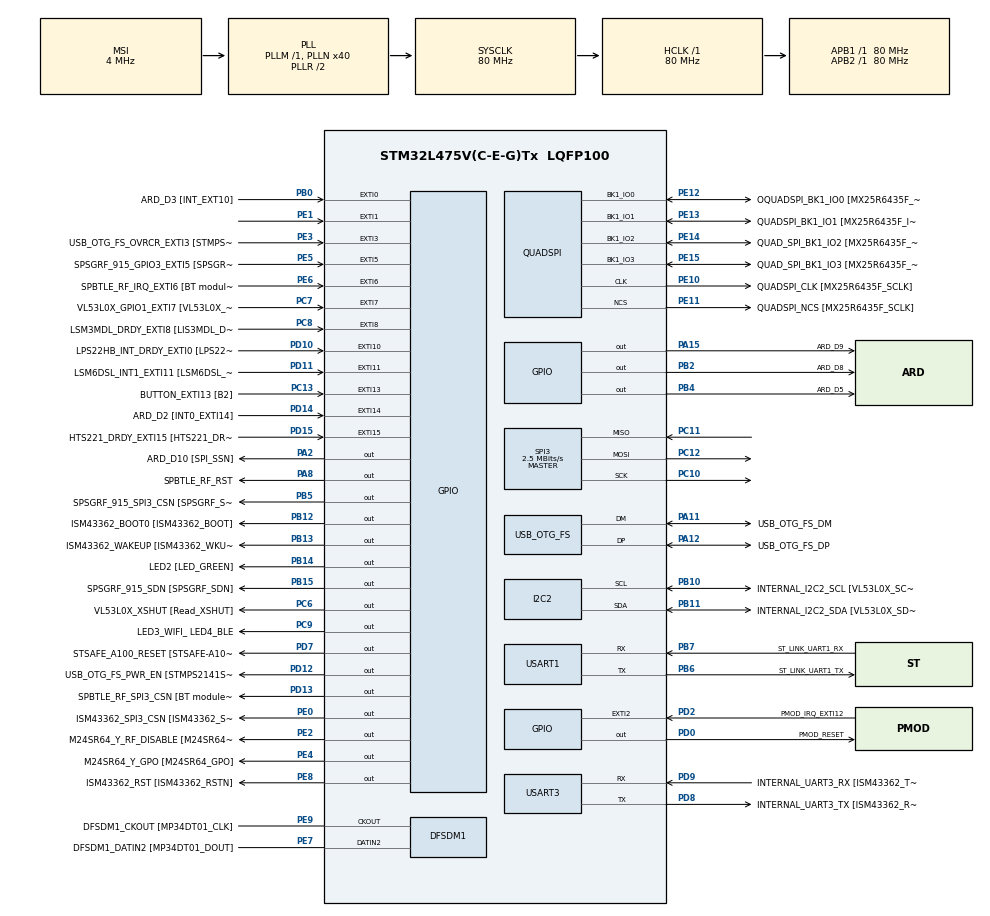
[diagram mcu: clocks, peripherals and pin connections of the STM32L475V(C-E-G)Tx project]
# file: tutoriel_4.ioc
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I2C2.Timing=0x10D19CE4
Mcu.Family=STM32L4
Mcu.Name=STM32L475V(C-E-G)Tx
Mcu.Package=LQFP100
NVIC.EXTI1_IRQn=true\:0\:0\:false\:false\:true\:true\:true\:true
NVIC.PriorityGroup=NVIC_PRIORITYGROUP_4
NVIC.SPI3_IRQn=true\:0\:0\:false\:false\:true\:true\:true\:true
PA0.Signal=UART4_TX
PA1.GPIO_Label=ARD_D0 [UART4_RX]
PA1.Signal=UART4_RX
PA10.GPIO_Label=USB_OTG_FS_ID
PA10.Signal=USB_OTG_FS_ID
PA11.GPIO_Label=USB_OTG_FS_DM
PA11.Mode=Device_Only
PA11.Signal=USB_OTG_FS_DM
PA12.GPIO_Label=USB_OTG_FS_DP
PA12.Mode=Device_Only
PA12.Signal=USB_OTG_FS_DP
PA13\ (JTMS-SWDIO).GPIO_Label=SYS_JTMS_SWDIO
PA13\ (JTMS-SWDIO).Mode=Serial_Wire
PA13\ (JTMS-SWDIO).Signal=SYS_JTMS-SWDIO
PA14\ (JTCK-SWCLK).GPIO_Label=SYS_JTCK_SWCLK
PA14\ (JTCK-SWCLK).Mode=Serial_Wire
PA14\ (JTCK-SWCLK).Signal=SYS_JTCK-SWCLK
PA15\ (JTDI).GPIO_Label=ARD_D9
PA15\ (JTDI).Signal=GPIO_Output
PA2.GPIO_Label=ARD_D10 [SPI_SSN]
PA2.Signal=GPIO_Output
PA3.GPIO_Label=ARD_D4
PA3.Signal=S_TIM2_CH4
PA4.GPIO_Label=ARD_D7
PA4.Signal=ADCx_IN9
PA5.GPIO_Label=ARD_D13 [SPI1_SCK]
PA5.Signal=SPI1_SCK
PA6.GPIO_Label=ARD_D12 [SPI1_MISO]
PA6.Signal=SPI1_MISO
PA7.GPIO_Label=ARD_D11 [SPI1_MOSI]
PA7.Signal=SPI1_MOSI
PA8.GPIO_Label=SPBTLE_RF_RST
PA8.Signal=GPIO_Output
PA9.GPIO_Label=USB_OTG_FS_VBUS [STMPS2141STR_OUT]
PA9.Signal=USB_OTG_FS_VBUS
PB0.GPIO_Label=ARD_D3 [INT_EXT10]
PB0.Signal=GPXTI0
PB1.GPIO_Label=ARD_D6 [ADC1_IN6]
PB1.Signal=ADCx_IN16
PB10.GPIO_Label=INTERNAL_I2C2_SCL [VL53L0X_SCL]
PB10.GPIO_Pu=GPIO_PULLUP
PB10.Mode=I2C
PB10.Signal=I2C2_SCL
PB11.GPIO_Label=INTERNAL_I2C2_SDA [VL53L0X_SDA]
PB11.GPIO_Pu=GPIO_PULLUP
PB11.Mode=I2C
PB11.Signal=I2C2_SDA
PB12.GPIO_Label=ISM43362_BOOT0 [ISM43362_BOOT]
PB12.Signal=GPIO_Output
PB13.GPIO_Label=ISM43362_WAKEUP [ISM43362_WKUP]
PB13.Signal=GPIO_Output
PB14.GPIO_Label=LED2 [LED_GREEN]
PB14.Signal=GPIO_Output
PB15.GPIO_Label=SPSGRF_915_SDN [SPSGRF_SDN]
PB15.Signal=GPIO_Output
PB2.GPIO_Label=ARD_D8
PB2.Signal=GPIO_Output
PB3\ (JTDO-TRACESWO).GPIO_Label=SYS_JTD0_SWO
PB3\ (JTDO-TRACESWO).Signal=SYS_JTDO-SWO
PB4\ (NJTRST).GPIO_Label=ARD_D5
PB4\ (NJTRST).Signal=GPIO_Output
PB5.GPIO_Label=SPSGRF_915_SPI3_CSN [SPSGRF_SPI_CS]
PB5.PinState=GPIO_PIN_SET
PB5.Signal=GPIO_Output
PB6.GPIO_Label=ST_LINK_UART1_TX
PB6.Mode=Asynchronous
PB6.Signal=USART1_TX
PB7.GPIO_Label=ST_LINK_UART1_RX
PB7.Mode=Asynchronous
PB7.Signal=USART1_RX
PB8.GPIO_Label=ARD_D15 [I2C1_SCL]
PB8.Signal=I2C1_SCL
PB9.GPIO_Label=ARD_D14 [I2C1_SDA]
PB9.Signal=I2C1_SDA
PC0.GPIO_Label=ARD_A5 [ADC]
PC0.Signal=ADCx_IN1
PC1.GPIO_Label=ARD_A4 [ADC]
PC1.Signal=ADCx_IN2
PC10.Mode=Full_Duplex_Master
PC10.Signal=SPI3_SCK
PC11.GPIO_Mode=GPIO_MODE_AF_PP
PC11.GPIO_PuPd=GPIO_NOPULL
PC11.GPIO_Speed=GPIO_SPEED_FREQ_VERY_HIGH
PC11.Mode=Full_Duplex_Master
PC11.Signal=SPI3_MISO
PC12.GPIO_Mode=GPIO_MODE_AF_PP
PC12.GPIO_PuPd=GPIO_NOPULL
PC12.GPIO_Speed=GPIO_SPEED_FREQ_VERY_HIGH
PC12.Mode=Full_Duplex_Master
PC12.Signal=SPI3_MOSI
PC13.GPIO_Label=BUTTON_EXTI13 [B2]
PC13.GPIO_ModeDefaultEXTI=GPIO_MODE_IT_FALLING
PC13.Signal=GPXTI13
PC14-OSC32_IN\ (PC14).Mode=LSE-External-Oscillator
PC14-OSC32_IN\ (PC14).Signal=RCC_OSC32_IN
PC15-OSC32_OUT\ (PC15).Mode=LSE-External-Oscillator
PC15-OSC32_OUT\ (PC15).Signal=RCC_OSC32_OUT
PC2.GPIO_Label=ARD_A3 [ADC]
PC2.Signal=ADCx_IN3
PC3.GPIO_Label=ARD_A2 [ADC]
PC3.Signal=ADCx_IN4
PC4.GPIO_Label=ARD_A1 [ADC]
PC4.Signal=ADCx_IN13
PC5.GPIO_Label=ARD_A0 [ADC]
PC5.Signal=ADCx_IN14
PC6.GPIO_Label=VL53L0X_XSHUT [Read_XSHUT]
PC6.Signal=GPIO_Output
PC7.GPIO_Label=VL53L0X_GPIO1_EXTI7 [VL53L0X_GPIO1]
PC7.Signal=GPXTI7
PC8.GPIO_Label=LSM3MDL_DRDY_EXTI8 [LIS3MDL_DRDY]
PC8.Signal=GPXTI8
PC9.GPIO_Label=LED3_WIFI_ LED4_BLE
PC9.Signal=GPIO_Output
PD0.GPIO_Label=PMOD_RESET
PD0.Signal=GPIO_Output
PD1.GPIO_Label=PMOD_SPI2_SCK
PD1.Signal=SPI2_SCK
PD10.GPIO_Label=LPS22HB_INT_DRDY_EXTI0 [LPS22HB_INT_DRDY] 
PD10.Signal=GPXTI10
PD11.GPIO_Label=LSM6DSL_INT1_EXTI11 [LSM6DSL_INT1]
PD11.Signal=GPXTI11
PD12.GPIO_Label=USB_OTG_FS_PWR_EN [STMPS2141STR_EN]
PD12.Signal=GPIO_Output
PD13.GPIO_Label=SPBTLE_RF_SPI3_CSN [BT module_SPI_CS]
PD13.PinState=GPIO_PIN_SET
PD13.Signal=GPIO_Output
PD14.GPIO_Label=ARD_D2 [INT0_EXTI14]
PD14.Signal=GPXTI14
PD15.GPIO_Label=HTS221_DRDY_EXTI15 [HTS221_DRDY]
PD15.Signal=GPXTI15
PD2.GPIO_Label=PMOD_IRQ_EXTI12
PD2.Signal=GPXTI2
PD4.GPIO_Label=PMOD_UART2_RTS
PD4.Signal=USART2_RTS
PD5.GPIO_Label=PMOD_UART2_TX
PD5.Signal=USART2_TX
PD6.GPIO_Label=PMOD_UART2_RX
PD6.Signal=USART2_RX
PD7.GPIO_Label=STSAFE_A100_RESET [STSAFE-A100_RESET]
PD7.Signal=GPIO_Output
PD8.GPIO_Label=INTERNAL_UART3_TX [ISM43362_RX]
PD8.Mode=Asynchronous
PD8.Signal=USART3_TX
PD9.GPIO_Label=INTERNAL_UART3_RX [ISM43362_TX]
PD9.Mode=Asynchronous
PD9.Signal=USART3_RX
PE0.GPIO_Label=ISM43362_SPI3_CSN [ISM43362_SSN]
PE0.PinState=GPIO_PIN_SET
PE0.Signal=GPIO_Output
PE1.Signal=GPXTI1
PE10.GPIO_Label=QUADSPI_CLK [MX25R6435F_SCLK]
PE10.Mode=Single Bank
PE10.Signal=QUADSPI_CLK
PE11.GPIO_Label=QUADSPI_NCS [MX25R6435F_SCLK]
PE11.Mode=Single Bank
PE11.Signal=QUADSPI_NCS
PE12.GPIO_Label=OQUADSPI_BK1_IO0 [MX25R6435F_IO0]
PE12.Mode=Single Bank
PE12.Signal=QUADSPI_BK1_IO0
PE13.GPIO_Label=QUADSPI_BK1_IO1 [MX25R6435F_IO1]
PE13.Mode=Single Bank
PE13.Signal=QUADSPI_BK1_IO1
PE14.GPIO_Label=QUAD_SPI_BK1_IO2 [MX25R6435F_IO2]
PE14.Mode=Single Bank
PE14.Signal=QUADSPI_BK1_IO2
PE15.GPIO_Label=QUAD_SPI_BK1_IO3 [MX25R6435F_IO3]
PE15.Mode=Single Bank
PE15.Signal=QUADSPI_BK1_IO3
PE2.GPIO_Label=M24SR64_Y_RF_DISABLE [M24SR64_RFDIS]
PE2.Signal=GPIO_Output
PE3.GPIO_Label=USB_OTG_FS_OVRCR_EXTI3 [STMPS2141STR_FAULT]
PE3.Signal=GPXTI3
PE4.GPIO_Label=M24SR64_Y_GPO [M24SR64_GPO]
PE4.Signal=GPIO_Output
PE5.GPIO_Label=SPSGRF_915_GPIO3_EXTI5 [SPSGRF_GPIO_3]
PE5.Signal=GPXTI5
PE6.GPIO_Label=SPBTLE_RF_IRQ_EXTI6 [BT module_SPI_IRQ]
PE6.Signal=GPXTI6
PE7.GPIO_Label=DFSDM1_DATIN2 [MP34DT01_DOUT]
PE7.Signal=S_DATAIN2DFSDM1
PE8.GPIO_Label=ISM43362_RST [ISM43362_RSTN]
PE8.Signal=GPIO_Output
PE9.GPIO_Label=DFSDM1_CKOUT [MP34DT01_CLK]
PE9.Signal=S_CKOUTDFSDM1
ProjectManager.HeapSize=0x200
ProjectManager.StackSize=0x400
ProjectManager.TargetToolchain=STM32CubeIDE
QUADSPI.ClockPrescaler=2
QUADSPI.FifoThreshold=4
QUADSPI.FlashSize=23
QUADSPI.SampleShifting=QSPI_SAMPLE_SHIFTING_HALFCYCLE
RCC.ADCFreq_Value=48000000
RCC.AHBFreq_Value=80000000
RCC.APB1Freq_Value=80000000
RCC.APB1TimFreq_Value=80000000
RCC.APB2Freq_Value=80000000
RCC.APB2TimFreq_Value=80000000
RCC.CortexFreq_Value=80000000
RCC.HCLKFreq_Value=80000000
RCC.HSE_VALUE=8000000
RCC.HSI_VALUE=16000000
RCC.MSI_VALUE=4000000
RCC.PLLN=40
RCC.PLLSAI1N=24
RCC.SYSCLKFreq_VALUE=80000000
RCC.SYSCLKSource=RCC_SYSCLKSOURCE_PLLCLK
RCC.USBFreq_Value=48000000
RCC.VCOOutputFreq_Value=160000000
SH.ADCx_IN1.0=ADC1_IN1
SH.ADCx_IN13.0=ADC1_IN13
SH.ADCx_IN14.0=ADC1_IN14
SH.ADCx_IN16.0=ADC1_IN16
SH.ADCx_IN2.0=ADC1_IN2
SH.ADCx_IN3.0=ADC1_IN3
SH.ADCx_IN4.0=ADC1_IN4
SH.ADCx_IN9.0=ADC1_IN9
SH.S_CKOUTDFSDM1.0=DFSDM1_CKOUT,CKOUT
SH.S_CKOUTDFSDM1.1=DFSDM1_CKOUT,PDM_SPI_Input_from_ch12_and_Internal_Clock
SH.S_DATAIN2DFSDM1.0=DFSDM1_DATIN2,PDM_SPI_Input_from_ch12_and_Internal_Clock
SH.S_TIM2_CH4.0=TIM2_CH4
SPI3.BaudRatePrescaler=SPI_BAUDRATEPRESCALER_32
SPI3.CalculateBaudRate=2.5 MBits/s
SPI3.DataSize=SPI_DATASIZE_8BIT
SPI3.Direction=SPI_DIRECTION_2LINES
SPI3.Mode=SPI_MODE_MASTER
SPI3.VirtualType=VM_MASTER
USART1.VirtualMode-Asynchronous=VM_ASYNC
USART3.VirtualMode-Asynchronous=VM_ASYNC
USB_OTG_FS.VirtualMode=Device_Only
board=B-L475E-IOT01A2

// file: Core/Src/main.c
/* USER CODE BEGIN Header */
/**
  ******************************************************************************
  * @file           : main.c
  * @brief          : Main program body
  ******************************************************************************
  * @attention
  *
  * Copyright (c) 2025 STMicroelectronics.
  * All rights reserved.
  *
  * This software is licensed under terms that can be found in the LICENSE file
  * in the root directory of this software component.
  * If no LICENSE file comes with this software, it is provided AS-IS.
  *
  ******************************************************************************
  */
/* USER CODE END Header */
#include "main.h"

/* USER CODE BEGIN Includes */
#include "stm32l475e_iot01.h"
#include "capteurs.h"
#include "traitement_donnees.h"

#include <wifi.h>
#include <math.h>
#include <stdio.h>
#include <string.h>
#include <stdarg.h>
#include <stdlib.h>
#include <time.h>

int32_t write_data_TS(int32_t* socket, uint16_t* datalen, int nb_parameters, ...);

/* USER CODE END Includes */

/* USER CODE BEGIN PD */

#define SSID "Javakjian"
#define PASSWORD "abcdefgh"

uint8_t RemoteIP[] = {10,34,124,150};
uint16_t RemotePORT = 8002;

uint8_t RemoteIP2[4] ;
uint16_t RemotePORT2 = 80;
#define thingspeak_APIkey_write "RH1GKC7P5NRDX6AJ"

#define thingspeak_APIkey_read "O729N63F5UVJ6IOZ"

#define WIFI_WRITE_TIMEOUT 10000
#define WIFI_READ_TIMEOUT 10000
#define CONNECTION_TRIAL_MAX 10

// --- Timing Constants ---
#define SENSOR_READ_INTERVAL_MS 10   // Read sensors every 1000ms
#define THINGSPEAK_SEND_INTERVAL_MS 30000 // Send every 60 seconds
#define THINGSPEAK_MIN_SEND_INTERVAL_MS 20000

/* USER CODE END PD */

DFSDM_Channel_HandleTypeDef hdfsdm1_channel1;

I2C_HandleTypeDef hi2c2;

QSPI_HandleTypeDef hqspi;

SPI_HandleTypeDef hspi3;

UART_HandleTypeDef huart1;
UART_HandleTypeDef huart3;

PCD_HandleTypeDef hpcd_USB_OTG_FS;

/* USER CODE BEGIN PV */
extern SPI_HandleTypeDef hspi;
int initial_accel_x = 0;
int initial_accel_y = 0;
int initial_accel_z = 0;
/* USER CODE END PV */

void SystemClock_Config(void);
static void MX_GPIO_Init(void);
static void MX_DFSDM1_Init(void);
static void MX_I2C2_Init(void);
static void MX_QUADSPI_Init(void);
static void MX_USART1_UART_Init(void);
static void MX_USART3_UART_Init(void);
static void MX_USB_OTG_FS_PCD_Init(void);
static void MX_SPI3_Init(void);

/* USER CODE BEGIN 0 */
/*Initialize WIFI module */
int wifi_connect(){
	int wifi_ok=0 ;
	uint8_t MAC_Addr[6] = {0};
	uint8_t IP_Addr[4] = {0};
	if(WIFI_Init() == WIFI_STATUS_OK) {

		printf("> WIFI Module Initialized.\n\r");
		if(WIFI_GetMAC_Address(MAC_Addr, sizeof(MAC_Addr)) == WIFI_STATUS_OK) {
			printf("> es-wifi module MAC Address : %X:%X:%X:%X:%X:%X\n\r",MAC_Addr[0],MAC_Addr[1],MAC_Addr[2],MAC_Addr[3],MAC_Addr[4],MAC_Addr[5]);
		} else {
			printf("> ERROR : CANNOT get MAC address\n\r");
		}
		if( WIFI_Connect(SSID, PASSWORD, WIFI_ECN_WPA2_PSK) == WIFI_STATUS_OK) {
			printf("> es-wifi module connected \n\r");
			if(WIFI_GetIP_Address(IP_Addr, sizeof(IP_Addr)) == WIFI_STATUS_OK){
				printf("> es-wifi module got IP Address : %d.%d.%d.%d\n\r",IP_Addr[0],IP_Addr[1],IP_Addr[2],IP_Addr[3]);
				wifi_ok=-1 ;
			}
			else{
				printf("> ERROR : es-wifi module CANNOT get IP address\n\r");
			}
		}
		else{
			printf("> ERROR : es-wifi module NOT connected\n\r");
		}
	}
	else{
		printf("31 . . . \n") ;

		printf( "> ERROR : WIFI Module cannot be initialized.\n\r");
	}
	return(wifi_ok);
}

int Server_Connect(int Socket, uint8_t RemoteIP[], uint16_t RemotePORT){
	int16_t Trials = CONNECTION_TRIAL_MAX;
	printf( "> Trying to connect to Server: %d.%d.%d.%d:%d ...\n\r",
	RemoteIP[0], RemoteIP[1], RemoteIP[2], RemoteIP[3],
	RemotePORT);
	while (Trials--){
		if( WIFI_OpenClientConnection(Socket, WIFI_TCP_PROTOCOL, "TCP_CLIENT", RemoteIP, RemotePORT, 0) == WIFI_STATUS_OK){
			printf("> TCP Connection opened successfully.\n\r");
			break;
		}
	}
	if(Socket == -1){
		printf( "> ERROR : Cannot open Connection\n\r");
	}
	return(Socket);
}

bool resolve_hostname(char *hostname, uint8_t *RemoteIP ){
/* get the host address */
	printf("\nResolve hostname %s\r\n", hostname);
	WIFI_Status_t result = WIFI_GetHostAddress(hostname, RemoteIP, 4);
	if (result != 0) {
		printf("Error! GetHostAddress(%s) returned: %d\r\n", hostname,result);
		return false;
	}
	printf("%s address is %d.%d.%d.%d\r\n", hostname, RemoteIP[0],
	RemoteIP[1], RemoteIP[2], RemoteIP[3]);
	return true;
}
/* USER CODE END 0 */

int main(void)
{

  /* USER CODE BEGIN 1 */

	int32_t Socket2 = -1;

	float vf ;
	int v1,v2,v3,v4 ;
	char sbuffer[256];
	char message[100];

	int32_t Socket = -1;
	uint16_t Datalen;
	int32_t ret;
	char TxData [64] ; // reserve la zone de dialogue
	char RxData [500];
	float sensor_value ;

	// Variables for current readings and deltas
	int current_accel_x, current_accel_y, current_accel_z;
	int delta_accel_x, delta_accel_y, delta_accel_z;

	// Variables for magnitude (if still needed)
	float accel_magnitude = 0.0f;
	long long accel_x_sq, accel_y_sq, accel_z_sq;

	int chute = 0; // Current fall status (0 or 1)
	bool fall_detected_flag = false; // Flag to indicate a NEW fall was just detected

	uint32_t last_sensor_read_time = 0;
	uint32_t last_thingspeak_send_time = 0;
	uint32_t current_time = 0;

	// --- Snapshot variables to store data AT THE MOMENT OF THE FALL ---
	int fall_data_gyro_x, fall_data_gyro_y, fall_data_gyro_z;
	int fall_data_delta_x, fall_data_delta_y, fall_data_delta_z;
	int fall_data_chute; // This will always be 1
	int fall_data_magnitude;

  /* USER CODE END 1 */

  /* MCU Configuration--------------------------------------------------------*/

  /* Reset of all peripherals, Initializes the Flash interface and the Systick. */
  HAL_Init();

  /* Configure the system clock */
  SystemClock_Config();

  /* Initialize all configured peripherals */
  MX_GPIO_Init();
  MX_DFSDM1_Init();
  MX_I2C2_Init();
  MX_QUADSPI_Init();
  MX_USART1_UART_Init();
  MX_USART3_UART_Init();
  MX_USB_OTG_FS_PCD_Init();
  MX_SPI3_Init();
  /* USER CODE BEGIN 2 */
  printf("****** Sensor initialization ******\n\n\r");
  BSP_TSENSOR_Init();
  BSP_HSENSOR_Init();
  BSP_PSENSOR_Init();
  BSP_MAGNETO_Init();
  BSP_GYRO_Init();
  BSP_ACCELERO_Init();

  init_sensors() ;
  configure_user_height(173.5f) ;

  /*Initialize WIFI module */

  if (wifi_connect()==-1)  {

		resolve_hostname("api.thingspeak.com",RemoteIP2);
		Socket2 = Server_Connect(1, RemoteIP2, RemotePORT2) ;
  	    //Socket =  Server_Connect(0, RemoteIP, RemotePORT) ;

  }

  float ax_before, ay_before, az_before = 0 ;

  float ax = 0;
  float ay = 0;
  float az = 0;

  /* USER CODE END 2 */

  /* Infinite loop */
  while (1){

    /* USER CODE BEGIN 3*/

	  uint32_t current_time = HAL_GetTick();  // ← C'EST TOUT !

	  setAccelXYZ();
	  setGyroXYZ() ;

	  int16_t gx_raw = get_gyro_int(0);
	  int16_t gy_raw = get_gyro_int(1);
	  int16_t gz_raw = get_gyro_int(2);

	  float ax_raw = get_accel(0);
	  float ay_raw = get_accel(1);
	  float az_raw = get_accel(2);

	  ax_before = ax ;
	  ay_before = ay ;
	  az_before = az ;

	   ax = accel_raw_to_g(ax_raw);
	   ay = accel_raw_to_g(ay_raw);
	   az = accel_raw_to_g(az_raw);

	  float gx = gyro_raw_to_dps(gx_raw);
	  float gy = gyro_raw_to_dps(gy_raw);
	  float gz = gyro_raw_to_dps(gz_raw);

	  int previous_chute_state = chute; // Store previous state
	  int chute_detected = 0 ;

	  if (current_time - last_sensor_read_time >= SENSOR_READ_INTERVAL_MS) {
	  		  last_sensor_read_time = current_time; // Update last read time

	  		  current_accel_x = get_accel(0);
	  		  current_accel_y = get_accel(1);
	  		  current_accel_z = get_accel(2);

	  		  delta_accel_x = current_accel_x - initial_accel_x;
	  		  delta_accel_y = current_accel_y - initial_accel_y;
	  		  delta_accel_z = current_accel_z - initial_accel_z;

	  		  accel_x_sq = (long long)delta_accel_x * delta_accel_x; // Use current accel for magnitude
	  		  accel_y_sq = (long long)delta_accel_y * delta_accel_y;
	  		  accel_z_sq = (long long)delta_accel_z * delta_accel_z;
	  		  accel_magnitude = sqrtf((float)(accel_x_sq + accel_y_sq + accel_z_sq));

	  		  // --- Fall Detection Logic (Replace simulation with your actual logic) ---
	  		if (detect_fall(current_time)) {
	  			  	  chute = 1;
	  			  	  chute_detected = 1 ;
	  			  } else {
	  				  chute = 0;
	  			  }

	  		  // --- End of Fall Detection Logic ---

	  		  // Set the flag and TAKE DATA SNAPSHOT if a *new* fall was just detected
	  		  if (chute == 1 && previous_chute_state == 0) {
	  			  // Only latch data if a fall is not already pending to be sent
	  			  if (!fall_detected_flag) {
	  				  fall_detected_flag = true;
	  				  printf("\n *** FALL DETECTED! (FLAG SET & DATA LATCHED) *** \n");

	  				  // --- Take the snapshot of the data AT THIS MOMENT ---
	  				  fall_data_gyro_x = get_gyro_int(0);
	  				  fall_data_gyro_y = get_gyro_int(1);
	  				  fall_data_gyro_z = get_gyro_int(2);
	  				  fall_data_delta_x = delta_accel_x;
	  				  fall_data_delta_y = delta_accel_y;
	  				  fall_data_delta_z = delta_accel_z;
	  				  fall_data_chute = 1; // Explicitly set to 1
	  				  fall_data_magnitude = (int)accel_magnitude;
	  				chute_detected = 0 ;
	  			  }
	  		  }

	  		  // Logs (Optional, can be removed to save time in loop)
	  		   /*
	  		  printf("---------------------------------------------------------------------------------\r\n");
	  		   printf("Time: %lu ms\r\n", current_time);
	  		   printf("GYRO X: %d, GYRO Y: %d, GYRO Z: %d \r\n", get_gyro_int(0), get_gyro_int(1), get_gyro_int(2));
	  		   printf("DELTA ACCEL X: %d, DELTA ACCEL Y: %d, DELTA ACCEL Z: %d \r\n", delta_accel_x, delta_accel_y, delta_accel_z);
	  		   printf("ACCEL Magnitude: %.2f\r\n", accel_magnitude);
	  		   printf("Current Fall Status: %d\r\n", chute);
	  		   */
	  		  // printf("DELTA ACCEL X: %d, DELTA ACCEL Y: %d, DELTA ACCEL Z: %d \r\n", delta_accel_x, delta_accel_y, delta_accel_z);
	  		  // printf("ACCEL Magnitude: %.2f\r\n", accel_magnitude);
	  	  } // End of sensor reading block

	  	  // --- 2. ThingSpeak Sending Logic ---

	  	  bool attempt_send = false; // Should we consider sending now?
	  	  bool is_fall_event_trigger = false; // Was the trigger a fall?

	  	  // Condition 1: New fall detected?
	  	  if (fall_detected_flag) {
	  		  attempt_send = true;
	  		  is_fall_event_trigger = true;
	  		  printf("Send Reason: Fall detected!\r\n");
	  	  }

	  	  // Condition 2: Regular send interval elapsed?
	  	  if (current_time - last_thingspeak_send_time >= THINGSPEAK_SEND_INTERVAL_MS) {
	  		  attempt_send = true;
	  		  is_fall_event_trigger = false;
	  		  printf("Send Reason: Regular interval (%lu ms).\r\n", THINGSPEAK_SEND_INTERVAL_MS);
	  	  }

	  	  // --- Check Rate Limit and Attempt Send ---
	  	  if (attempt_send) {
	  		  // Check if minimum interval since LAST successful send has passed
	  		  if (current_time - last_thingspeak_send_time >= THINGSPEAK_MIN_SEND_INTERVAL_MS) {

	  			  if (Socket2 != -1) {

	  				  if (is_fall_event_trigger) {
	  					  // --- Send the LATCHED FALL DATA ---
	  					  printf("Attempting Send - Reason: Fall Event (using latched data)\r\n");
	  					  ret = write_data_TS(&Socket2, &Datalen, 8,
	  										  fall_data_gyro_x, fall_data_gyro_y, fall_data_gyro_z,
	  										  fall_data_delta_x, fall_data_delta_y, fall_data_delta_z,
	  										  fall_data_chute, // This will be 1
	  										  fall_data_magnitude);
	  				  } else {
	  					  // --- Send the CURRENT data (regular update) ---
	  					  printf("Attempting Send - Reason: Regular Interval (using current data)\r\n");
	  					  ret = write_data_TS(&Socket2, &Datalen, 8,
	  										  get_gyro_int(0), get_gyro_int(1), get_gyro_int(2),
	  										  delta_accel_x, delta_accel_y, delta_accel_z,
	  										  chute, // This will be 0
	  										  (int)accel_magnitude);
	  				  }

	  				  // --- Handle Send Result ---
	  				  if (ret == WIFI_STATUS_OK) {
	  					  printf("Send successful to thingspeak.com... status %ld\r\n", ret);
	  					  last_thingspeak_send_time = HAL_GetTick(); // Update time of SUCCESSFUL send

	  					  // If this send was for a fall, reset the flag
	  					  if (is_fall_event_trigger) {
	  						  fall_detected_flag = false;
	  						  printf("Fall flag reset after successful send.\r\n");
	  					  }
	  				  } else {
	  					  printf("> ERROR : Failed to Send Data (%ld), connection closed\n\r", ret);
	  					  WIFI_CloseClientConnection(Socket2);
	  					  Socket2 = -1;
	  					  // Reconnect logic will be handled below
	  				  }
	  			  } else {
	  				   printf("Attempt Send: Socket disconnected, delaying send.\r\n");
	  				   // Reconnect logic will be handled below
	  			  }
	  		  } else {
	  			  // Minimum interval not yet passed
	  			  // Print this message only if a send was actually attempted
	  		  }
	  	  } // End of attempt_send block

	  	if ((Socket2 == -1) && (current_time - last_thingspeak_send_time >= 5000)) {
			  last_thingspeak_send_time = current_time;
			  WIFI_CloseClientConnection(Socket2);
			  if (wifi_connect() == -1) {
					printf("Wi-Fi not connected. Fixing hostname...\r\n");
					if(resolve_hostname("api.thingspeak.com",RemoteIP2)) {
						Socket2 = Server_Connect(1, RemoteIP2, RemotePORT2) ;
						if (Socket2 != -1) {
						   last_thingspeak_send_time = HAL_GetTick();
						   printf("Reconnected to Thingspeak.\r\n");
						}
					} else {
						 printf("> ERROR: Failed to solve hostname in reconnection.\r\n");
					}
			   } else {
				   printf("> ERROR: Failed to find WiFi.\r\n");
			   }

	  		  HAL_Delay(50); // e.g., 50ms
	  }

  }
  /* USER CODE END 3 */
}

void SystemClock_Config(void)
{
  RCC_OscInitTypeDef RCC_OscInitStruct = {0};
  RCC_ClkInitTypeDef RCC_ClkInitStruct = {0};

  /** Configure the main internal regulator output voltage
  */
  if (HAL_PWREx_ControlVoltageScaling(PWR_REGULATOR_VOLTAGE_SCALE1) != HAL_OK)
  {
    Error_Handler();
  }

  /** Configure LSE Drive Capability
  */
  HAL_PWR_EnableBkUpAccess();
  __HAL_RCC_LSEDRIVE_CONFIG(RCC_LSEDRIVE_LOW);

  /** Initializes the RCC Oscillators according to the specified parameters
  * in the RCC_OscInitTypeDef structure.
  */
  RCC_OscInitStruct.OscillatorType = RCC_OSCILLATORTYPE_LSE|RCC_OSCILLATORTYPE_MSI;
  RCC_OscInitStruct.LSEState = RCC_LSE_ON;
  RCC_OscInitStruct.MSIState = RCC_MSI_ON;
  RCC_OscInitStruct.MSICalibrationValue = 0;
  RCC_OscInitStruct.MSIClockRange = RCC_MSIRANGE_6;
  RCC_OscInitStruct.PLL.PLLState = RCC_PLL_ON;
  RCC_OscInitStruct.PLL.PLLSource = RCC_PLLSOURCE_MSI;
  RCC_OscInitStruct.PLL.PLLM = 1;
  RCC_OscInitStruct.PLL.PLLN = 40;
  RCC_OscInitStruct.PLL.PLLP = RCC_PLLP_DIV7;
  RCC_OscInitStruct.PLL.PLLQ = RCC_PLLQ_DIV2;
  RCC_OscInitStruct.PLL.PLLR = RCC_PLLR_DIV2;
  if (HAL_RCC_OscConfig(&RCC_OscInitStruct) != HAL_OK)
  {
    Error_Handler();
  }

  /** Initializes the CPU, AHB and APB buses clocks
  */
  RCC_ClkInitStruct.ClockType = RCC_CLOCKTYPE_HCLK|RCC_CLOCKTYPE_SYSCLK
                              |RCC_CLOCKTYPE_PCLK1|RCC_CLOCKTYPE_PCLK2;
  RCC_ClkInitStruct.SYSCLKSource = RCC_SYSCLKSOURCE_PLLCLK;
  RCC_ClkInitStruct.AHBCLKDivider = RCC_SYSCLK_DIV1;
  RCC_ClkInitStruct.APB1CLKDivider = RCC_HCLK_DIV1;
  RCC_ClkInitStruct.APB2CLKDivider = RCC_HCLK_DIV1;

  if (HAL_RCC_ClockConfig(&RCC_ClkInitStruct, FLASH_LATENCY_4) != HAL_OK)
  {
    Error_Handler();
  }

  /** Enable MSI Auto calibration
  */
  HAL_RCCEx_EnableMSIPLLMode();
}

static void MX_DFSDM1_Init(void)
{

  hdfsdm1_channel1.Instance = DFSDM1_Channel1;
  hdfsdm1_channel1.Init.OutputClock.Activation = ENABLE;
  hdfsdm1_channel1.Init.OutputClock.Selection = DFSDM_CHANNEL_OUTPUT_CLOCK_SYSTEM;
  hdfsdm1_channel1.Init.OutputClock.Divider = 2;
  hdfsdm1_channel1.Init.Input.Multiplexer = DFSDM_CHANNEL_EXTERNAL_INPUTS;
  hdfsdm1_channel1.Init.Input.DataPacking = DFSDM_CHANNEL_STANDARD_MODE;
  hdfsdm1_channel1.Init.Input.Pins = DFSDM_CHANNEL_FOLLOWING_CHANNEL_PINS;
  hdfsdm1_channel1.Init.SerialInterface.Type = DFSDM_CHANNEL_SPI_RISING;
  hdfsdm1_channel1.Init.SerialInterface.SpiClock = DFSDM_CHANNEL_SPI_CLOCK_INTERNAL;
  hdfsdm1_channel1.Init.Awd.FilterOrder = DFSDM_CHANNEL_FASTSINC_ORDER;
  hdfsdm1_channel1.Init.Awd.Oversampling = 1;
  hdfsdm1_channel1.Init.Offset = 0;
  hdfsdm1_channel1.Init.RightBitShift = 0x00;
  if (HAL_DFSDM_ChannelInit(&hdfsdm1_channel1) != HAL_OK)
  {
    Error_Handler();
  }

}

static void MX_I2C2_Init(void)
{

  hi2c2.Instance = I2C2;
  hi2c2.Init.Timing = 0x10D19CE4;
  hi2c2.Init.OwnAddress1 = 0;
  hi2c2.Init.AddressingMode = I2C_ADDRESSINGMODE_7BIT;
  hi2c2.Init.DualAddressMode = I2C_DUALADDRESS_DISABLE;
  hi2c2.Init.OwnAddress2 = 0;
  hi2c2.Init.OwnAddress2Masks = I2C_OA2_NOMASK;
  hi2c2.Init.GeneralCallMode = I2C_GENERALCALL_DISABLE;
  hi2c2.Init.NoStretchMode = I2C_NOSTRETCH_DISABLE;
  if (HAL_I2C_Init(&hi2c2) != HAL_OK)
  {
    Error_Handler();
  }

  /** Configure Analogue filter
  */
  if (HAL_I2CEx_ConfigAnalogFilter(&hi2c2, I2C_ANALOGFILTER_ENABLE) != HAL_OK)
  {
    Error_Handler();
  }

  /** Configure Digital filter
  */
  if (HAL_I2CEx_ConfigDigitalFilter(&hi2c2, 0) != HAL_OK)
  {
    Error_Handler();
  }

}

static void MX_QUADSPI_Init(void)
{

  /* QUADSPI parameter configuration*/
  hqspi.Instance = QUADSPI;
  hqspi.Init.ClockPrescaler = 2;
  hqspi.Init.FifoThreshold = 4;
  hqspi.Init.SampleShifting = QSPI_SAMPLE_SHIFTING_HALFCYCLE;
  hqspi.Init.FlashSize = 23;
  hqspi.Init.ChipSelectHighTime = QSPI_CS_HIGH_TIME_1_CYCLE;
  hqspi.Init.ClockMode = QSPI_CLOCK_MODE_0;
  if (HAL_QSPI_Init(&hqspi) != HAL_OK)
  {
    Error_Handler();
  }

}

static void MX_SPI3_Init(void)
{

  /* SPI3 parameter configuration*/
  hspi3.Instance = SPI3;
  hspi3.Init.Mode = SPI_MODE_MASTER;
  hspi3.Init.Direction = SPI_DIRECTION_2LINES;
  hspi3.Init.DataSize = SPI_DATASIZE_8BIT;
  hspi3.Init.CLKPolarity = SPI_POLARITY_LOW;
  hspi3.Init.CLKPhase = SPI_PHASE_1EDGE;
  hspi3.Init.NSS = SPI_NSS_SOFT;
  hspi3.Init.BaudRatePrescaler = SPI_BAUDRATEPRESCALER_32;
  hspi3.Init.FirstBit = SPI_FIRSTBIT_MSB;
  hspi3.Init.TIMode = SPI_TIMODE_DISABLE;
  hspi3.Init.CRCCalculation = SPI_CRCCALCULATION_DISABLE;
  hspi3.Init.CRCPolynomial = 7;
  hspi3.Init.CRCLength = SPI_CRC_LENGTH_DATASIZE;
  hspi3.Init.NSSPMode = SPI_NSS_PULSE_ENABLE;
  if (HAL_SPI_Init(&hspi3) != HAL_OK)
  {
    Error_Handler();
  }

}

static void MX_USART1_UART_Init(void)
{

  huart1.Instance = USART1;
  huart1.Init.BaudRate = 115200;
  huart1.Init.WordLength = UART_WORDLENGTH_8B;
  huart1.Init.StopBits = UART_STOPBITS_1;
  huart1.Init.Parity = UART_PARITY_NONE;
  huart1.Init.Mode = UART_MODE_TX_RX;
  huart1.Init.HwFlowCtl = UART_HWCONTROL_NONE;
  huart1.Init.OverSampling = UART_OVERSAMPLING_16;
  huart1.Init.OneBitSampling = UART_ONE_BIT_SAMPLE_DISABLE;
  huart1.AdvancedInit.AdvFeatureInit = UART_ADVFEATURE_NO_INIT;
  if (HAL_UART_Init(&huart1) != HAL_OK)
  {
    Error_Handler();
  }

}

static void MX_USART3_UART_Init(void)
{

  huart3.Instance = USART3;
  huart3.Init.BaudRate = 115200;
  huart3.Init.WordLength = UART_WORDLENGTH_8B;
  huart3.Init.StopBits = UART_STOPBITS_1;
  huart3.Init.Parity = UART_PARITY_NONE;
  huart3.Init.Mode = UART_MODE_TX_RX;
  huart3.Init.HwFlowCtl = UART_HWCONTROL_NONE;
  huart3.Init.OverSampling = UART_OVERSAMPLING_16;
  huart3.Init.OneBitSampling = UART_ONE_BIT_SAMPLE_DISABLE;
  huart3.AdvancedInit.AdvFeatureInit = UART_ADVFEATURE_NO_INIT;
  if (HAL_UART_Init(&huart3) != HAL_OK)
  {
    Error_Handler();
  }

}

static void MX_USB_OTG_FS_PCD_Init(void)
{

  hpcd_USB_OTG_FS.Instance = USB_OTG_FS;
  hpcd_USB_OTG_FS.Init.dev_endpoints = 6;
  hpcd_USB_OTG_FS.Init.speed = PCD_SPEED_FULL;
  hpcd_USB_OTG_FS.Init.phy_itface = PCD_PHY_EMBEDDED;
  hpcd_USB_OTG_FS.Init.Sof_enable = DISABLE;
  hpcd_USB_OTG_FS.Init.low_power_enable = DISABLE;
  hpcd_USB_OTG_FS.Init.lpm_enable = DISABLE;
  hpcd_USB_OTG_FS.Init.battery_charging_enable = DISABLE;
  hpcd_USB_OTG_FS.Init.use_dedicated_ep1 = DISABLE;
  hpcd_USB_OTG_FS.Init.vbus_sensing_enable = DISABLE;
  if (HAL_PCD_Init(&hpcd_USB_OTG_FS) != HAL_OK)
  {
    Error_Handler();
  }

}

static void MX_GPIO_Init(void)
{
  GPIO_InitTypeDef GPIO_InitStruct = {0};

  /* GPIO Ports Clock Enable */
  __HAL_RCC_GPIOE_CLK_ENABLE();
  __HAL_RCC_GPIOC_CLK_ENABLE();
  __HAL_RCC_GPIOA_CLK_ENABLE();
  __HAL_RCC_GPIOB_CLK_ENABLE();
  __HAL_RCC_GPIOD_CLK_ENABLE();

  /*Configure GPIO pin Output Level */
  HAL_GPIO_WritePin(GPIOE, M24SR64_Y_RF_DISABLE_Pin|M24SR64_Y_GPO_Pin|ISM43362_RST_Pin, GPIO_PIN_RESET);

  /*Configure GPIO pin Output Level */
  HAL_GPIO_WritePin(GPIOA, ARD_D10_Pin|SPBTLE_RF_RST_Pin|ARD_D9_Pin, GPIO_PIN_RESET);

  /*Configure GPIO pin Output Level */
  HAL_GPIO_WritePin(GPIOB, ARD_D8_Pin|ISM43362_BOOT0_Pin|ISM43362_WAKEUP_Pin|LED2_Pin
                          |SPSGRF_915_SDN_Pin|ARD_D5_Pin, GPIO_PIN_RESET);

  /*Configure GPIO pin Output Level */
  HAL_GPIO_WritePin(GPIOD, USB_OTG_FS_PWR_EN_Pin|PMOD_RESET_Pin|STSAFE_A100_RESET_Pin, GPIO_PIN_RESET);

  /*Configure GPIO pin Output Level */
  HAL_GPIO_WritePin(SPBTLE_RF_SPI3_CSN_GPIO_Port, SPBTLE_RF_SPI3_CSN_Pin, GPIO_PIN_SET);

  /*Configure GPIO pin Output Level */
  HAL_GPIO_WritePin(GPIOC, VL53L0X_XSHUT_Pin|LED3_WIFI__LED4_BLE_Pin, GPIO_PIN_RESET);

  /*Configure GPIO pin Output Level */
  HAL_GPIO_WritePin(SPSGRF_915_SPI3_CSN_GPIO_Port, SPSGRF_915_SPI3_CSN_Pin, GPIO_PIN_SET);

  /*Configure GPIO pin Output Level */
  HAL_GPIO_WritePin(ISM43362_SPI3_CSN_GPIO_Port, ISM43362_SPI3_CSN_Pin, GPIO_PIN_SET);

  /*Configure GPIO pins : M24SR64_Y_RF_DISABLE_Pin M24SR64_Y_GPO_Pin ISM43362_RST_Pin ISM43362_SPI3_CSN_Pin */
  GPIO_InitStruct.Pin = M24SR64_Y_RF_DISABLE_Pin|M24SR64_Y_GPO_Pin|ISM43362_RST_Pin|ISM43362_SPI3_CSN_Pin;
  GPIO_InitStruct.Mode = GPIO_MODE_OUTPUT_PP;
  GPIO_InitStruct.Pull = GPIO_NOPULL;
  GPIO_InitStruct.Speed = GPIO_SPEED_FREQ_LOW;
  HAL_GPIO_Init(GPIOE, &GPIO_InitStruct);

  /*Configure GPIO pins : USB_OTG_FS_OVRCR_EXTI3_Pin SPSGRF_915_GPIO3_EXTI5_Pin SPBTLE_RF_IRQ_EXTI6_Pin PE1 */
  GPIO_InitStruct.Pin = USB_OTG_FS_OVRCR_EXTI3_Pin|SPSGRF_915_GPIO3_EXTI5_Pin|SPBTLE_RF_IRQ_EXTI6_Pin|GPIO_PIN_1;
  GPIO_InitStruct.Mode = GPIO_MODE_IT_RISING;
  GPIO_InitStruct.Pull = GPIO_NOPULL;
  HAL_GPIO_Init(GPIOE, &GPIO_InitStruct);

  /*Configure GPIO pin : BUTTON_EXTI13_Pin */
  GPIO_InitStruct.Pin = BUTTON_EXTI13_Pin;
  GPIO_InitStruct.Mode = GPIO_MODE_IT_FALLING;
  GPIO_InitStruct.Pull = GPIO_NOPULL;
  HAL_GPIO_Init(BUTTON_EXTI13_GPIO_Port, &GPIO_InitStruct);

  /*Configure GPIO pins : ARD_A5_Pin ARD_A4_Pin ARD_A3_Pin ARD_A2_Pin
                           ARD_A1_Pin ARD_A0_Pin */
  GPIO_InitStruct.Pin = ARD_A5_Pin|ARD_A4_Pin|ARD_A3_Pin|ARD_A2_Pin
                          |ARD_A1_Pin|ARD_A0_Pin;
  GPIO_InitStruct.Mode = GPIO_MODE_ANALOG_ADC_CONTROL;
  GPIO_InitStruct.Pull = GPIO_NOPULL;
  HAL_GPIO_Init(GPIOC, &GPIO_InitStruct);

  /*Configure GPIO pins : PA0 ARD_D0_Pin */
  GPIO_InitStruct.Pin = GPIO_PIN_0|ARD_D0_Pin;
  GPIO_InitStruct.Mode = GPIO_MODE_AF_PP;
  GPIO_InitStruct.Pull = GPIO_NOPULL;
  GPIO_InitStruct.Speed = GPIO_SPEED_FREQ_VERY_HIGH;
  GPIO_InitStruct.Alternate = GPIO_AF8_UART4;
  HAL_GPIO_Init(GPIOA, &GPIO_InitStruct);

  /*Configure GPIO pins : ARD_D10_Pin SPBTLE_RF_RST_Pin ARD_D9_Pin */
  GPIO_InitStruct.Pin = ARD_D10_Pin|SPBTLE_RF_RST_Pin|ARD_D9_Pin;
  GPIO_InitStruct.Mode = GPIO_MODE_OUTPUT_PP;
  GPIO_InitStruct.Pull = GPIO_NOPULL;
  GPIO_InitStruct.Speed = GPIO_SPEED_FREQ_LOW;
  HAL_GPIO_Init(GPIOA, &GPIO_InitStruct);

  /*Configure GPIO pin : ARD_D4_Pin */
  GPIO_InitStruct.Pin = ARD_D4_Pin;
  GPIO_InitStruct.Mode = GPIO_MODE_AF_PP;
  GPIO_InitStruct.Pull = GPIO_NOPULL;
  GPIO_InitStruct.Speed = GPIO_SPEED_FREQ_LOW;
  GPIO_InitStruct.Alternate = GPIO_AF1_TIM2;
  HAL_GPIO_Init(ARD_D4_GPIO_Port, &GPIO_InitStruct);

  /*Configure GPIO pin : ARD_D7_Pin */
  GPIO_InitStruct.Pin = ARD_D7_Pin;
  GPIO_InitStruct.Mode = GPIO_MODE_ANALOG_ADC_CONTROL;
  GPIO_InitStruct.Pull = GPIO_NOPULL;
  HAL_GPIO_Init(ARD_D7_GPIO_Port, &GPIO_InitStruct);

  /*Configure GPIO pins : ARD_D13_Pin ARD_D12_Pin ARD_D11_Pin */
  GPIO_InitStruct.Pin = ARD_D13_Pin|ARD_D12_Pin|ARD_D11_Pin;
  GPIO_InitStruct.Mode = GPIO_MODE_AF_PP;
  GPIO_InitStruct.Pull = GPIO_NOPULL;
  GPIO_InitStruct.Speed = GPIO_SPEED_FREQ_VERY_HIGH;
  GPIO_InitStruct.Alternate = GPIO_AF5_SPI1;
  HAL_GPIO_Init(GPIOA, &GPIO_InitStruct);

  /*Configure GPIO pin : ARD_D3_Pin */
  GPIO_InitStruct.Pin = ARD_D3_Pin;
  GPIO_InitStruct.Mode = GPIO_MODE_IT_RISING;
  GPIO_InitStruct.Pull = GPIO_NOPULL;
  HAL_GPIO_Init(ARD_D3_GPIO_Port, &GPIO_InitStruct);

  /*Configure GPIO pin : ARD_D6_Pin */
  GPIO_InitStruct.Pin = ARD_D6_Pin;
  GPIO_InitStruct.Mode = GPIO_MODE_ANALOG_ADC_CONTROL;
  GPIO_InitStruct.Pull = GPIO_NOPULL;
  HAL_GPIO_Init(ARD_D6_GPIO_Port, &GPIO_InitStruct);

  /*Configure GPIO pins : ARD_D8_Pin ISM43362_BOOT0_Pin ISM43362_WAKEUP_Pin LED2_Pin
                           SPSGRF_915_SDN_Pin ARD_D5_Pin SPSGRF_915_SPI3_CSN_Pin */
  GPIO_InitStruct.Pin = ARD_D8_Pin|ISM43362_BOOT0_Pin|ISM43362_WAKEUP_Pin|LED2_Pin
                          |SPSGRF_915_SDN_Pin|ARD_D5_Pin|SPSGRF_915_SPI3_CSN_Pin;
  GPIO_InitStruct.Mode = GPIO_MODE_OUTPUT_PP;
  GPIO_InitStruct.Pull = GPIO_NOPULL;
  GPIO_InitStruct.Speed = GPIO_SPEED_FREQ_LOW;
  HAL_GPIO_Init(GPIOB, &GPIO_InitStruct);

  /*Configure GPIO pins : LPS22HB_INT_DRDY_EXTI0_Pin LSM6DSL_INT1_EXTI11_Pin ARD_D2_Pin HTS221_DRDY_EXTI15_Pin
                           PMOD_IRQ_EXTI12_Pin */
  GPIO_InitStruct.Pin = LPS22HB_INT_DRDY_EXTI0_Pin|LSM6DSL_INT1_EXTI11_Pin|ARD_D2_Pin|HTS221_DRDY_EXTI15_Pin
                          |PMOD_IRQ_EXTI12_Pin;
  GPIO_InitStruct.Mode = GPIO_MODE_IT_RISING;
  GPIO_InitStruct.Pull = GPIO_NOPULL;
  HAL_GPIO_Init(GPIOD, &GPIO_InitStruct);

  /*Configure GPIO pins : USB_OTG_FS_PWR_EN_Pin SPBTLE_RF_SPI3_CSN_Pin PMOD_RESET_Pin STSAFE_A100_RESET_Pin */
  GPIO_InitStruct.Pin = USB_OTG_FS_PWR_EN_Pin|SPBTLE_RF_SPI3_CSN_Pin|PMOD_RESET_Pin|STSAFE_A100_RESET_Pin;
  GPIO_InitStruct.Mode = GPIO_MODE_OUTPUT_PP;
  GPIO_InitStruct.Pull = GPIO_NOPULL;
  GPIO_InitStruct.Speed = GPIO_SPEED_FREQ_LOW;
  HAL_GPIO_Init(GPIOD, &GPIO_InitStruct);

  /*Configure GPIO pins : VL53L0X_XSHUT_Pin LED3_WIFI__LED4_BLE_Pin */
  GPIO_InitStruct.Pin = VL53L0X_XSHUT_Pin|LED3_WIFI__LED4_BLE_Pin;
  GPIO_InitStruct.Mode = GPIO_MODE_OUTPUT_PP;
  GPIO_InitStruct.Pull = GPIO_NOPULL;
  GPIO_InitStruct.Speed = GPIO_SPEED_FREQ_LOW;
  HAL_GPIO_Init(GPIOC, &GPIO_InitStruct);

  /*Configure GPIO pins : VL53L0X_GPIO1_EXTI7_Pin LSM3MDL_DRDY_EXTI8_Pin */
  GPIO_InitStruct.Pin = VL53L0X_GPIO1_EXTI7_Pin|LSM3MDL_DRDY_EXTI8_Pin;
  GPIO_InitStruct.Mode = GPIO_MODE_IT_RISING;
  GPIO_InitStruct.Pull = GPIO_NOPULL;
  HAL_GPIO_Init(GPIOC, &GPIO_InitStruct);

  /*Configure GPIO pin : PMOD_SPI2_SCK_Pin */
  GPIO_InitStruct.Pin = PMOD_SPI2_SCK_Pin;
  GPIO_InitStruct.Mode = GPIO_MODE_AF_PP;
  GPIO_InitStruct.Pull = GPIO_NOPULL;
  GPIO_InitStruct.Speed = GPIO_SPEED_FREQ_VERY_HIGH;
  GPIO_InitStruct.Alternate = GPIO_AF5_SPI2;
  HAL_GPIO_Init(PMOD_SPI2_SCK_GPIO_Port, &GPIO_InitStruct);

  /*Configure GPIO pins : PMOD_UART2_RTS_Pin PMOD_UART2_TX_Pin PMOD_UART2_RX_Pin */
  GPIO_InitStruct.Pin = PMOD_UART2_RTS_Pin|PMOD_UART2_TX_Pin|PMOD_UART2_RX_Pin;
  GPIO_InitStruct.Mode = GPIO_MODE_AF_PP;
  GPIO_InitStruct.Pull = GPIO_NOPULL;
  GPIO_InitStruct.Speed = GPIO_SPEED_FREQ_VERY_HIGH;
  GPIO_InitStruct.Alternate = GPIO_AF7_USART2;
  HAL_GPIO_Init(GPIOD, &GPIO_InitStruct);

  /*Configure GPIO pins : ARD_D15_Pin ARD_D14_Pin */
  GPIO_InitStruct.Pin = ARD_D15_Pin|ARD_D14_Pin;
  GPIO_InitStruct.Mode = GPIO_MODE_AF_OD;
  GPIO_InitStruct.Pull = GPIO_NOPULL;
  GPIO_InitStruct.Speed = GPIO_SPEED_FREQ_VERY_HIGH;
  GPIO_InitStruct.Alternate = GPIO_AF4_I2C1;
  HAL_GPIO_Init(GPIOB, &GPIO_InitStruct);

  /* EXTI interrupt init*/
  HAL_NVIC_SetPriority(EXTI1_IRQn, 0, 0);
  HAL_NVIC_EnableIRQ(EXTI1_IRQn);

}

/* USER CODE BEGIN 4 */

void HAL_GPIO_EXTI_Callback(uint16_t GPIO_Pin)
{
 switch (GPIO_Pin)
 {
 case (GPIO_PIN_1):
 {
 SPI_WIFI_ISR();
 break;
 }
 default:
 {
 break;
 }
 }
}
int __io_putchar(int ch)
{
 HAL_UART_Transmit(&huart1, (uint8_t *)&ch, 1, 0xFFFF);
 return ch;
}

int32_t write_data_TS(int32_t* socket, uint16_t* datalen, int nb_parameters, ...){
    char sbuffer[512];
    char fields[256] = "{";
    va_list args;
    va_start(args, nb_parameters);

    for (int i = 1; i <= nb_parameters-1; i++) {
        char tmp[32];
        int val = va_arg(args, int);
        sprintf(tmp, "\"field%d\": %d, ", i, val);
        strcat(fields, tmp);
    }
    char tmp[32];
    int val = va_arg(args, int);
    sprintf(tmp, "\"field%d\": %d}", nb_parameters, val);
    strcat(fields, tmp);

    va_end(args);

    snprintf(sbuffer, sizeof(sbuffer), "GET /update?api_key=%s HTTP/1.1\r\nHost:api.thingspeak.com\r\nContent-Type: application/json\r\nContent-Length:%d\r\n\r\n%s", thingspeak_APIkey_write, (int)strlen(fields),fields);
    printf("HTTP command %s\r\n", sbuffer);

    return WIFI_SendData(*socket, (uint8_t *)sbuffer, strlen(sbuffer), datalen, WIFI_WRITE_TIMEOUT);
}

/* USER CODE END 4 */

void Error_Handler(void)
{
  __disable_irq();
  while (1)
  {
  }
}

/*
	  if(Socket != -1){
	   ret = WIFI_ReceiveData(Socket, (uint8_t *)RxData, sizeof(RxData)-1, &Datalen, WIFI_READ_TIMEOUT);
	   if(ret == WIFI_STATUS_OK){
		   if(Datalen > 0){
			   RxData[Datalen]=0;
			   printf("Received: %s\n\r",RxData);
			   switch(RxData[0]){
			   	   case 't':
			   		   sensor_value = BSP_TSENSOR_ReadTemp();
			   		   tmpInt1 = sensor_value;
			   		   tmpFrac = sensor_value - tmpInt1;
			   		   tmpInt2 = trunc(tmpFrac * 100);
			   		   sprintf(TxData," TEMPERATURE = %d.%02d\n\r", tmpInt1,tmpInt2);
			   		   break ;
			   	   case 'h':
			   		   sensor_value = BSP_HSENSOR_ReadHumidity();
			   		   tmpInt1 = sensor_value;
			   		   tmpFrac = sensor_value - tmpInt1;
			   		   tmpInt2 = trunc(tmpFrac * 100);
			   		   sprintf(TxData," HUMIDITY = %d.%02d\n\r", tmpInt1,tmpInt2);
			   		   break ;
			   	   case 'p':
			   		   sensor_value = BSP_PSENSOR_ReadPressure();
			   		   tmpInt1 = sensor_value;
			   		   tmpFrac = sensor_value - tmpInt1;
			   		   tmpInt2 = trunc(tmpFrac * 100);
			   		   sprintf(TxData," PRESSURE = %d.%02d\n\r", tmpInt1, tmpInt2);
			   		   break ;
			   	   case 'm':
			   		   BSP_MAGNETO_GetXYZ(pDataXYZ);
			   		   sprintf(TxData," MAGNETO_X,Y,Z = %d %d %d \n\r", pDataXYZ[0],pDataXYZ[1],pDataXYZ[2]);
			   		   break ;
			   	   case 'g':
			   		   BSP_GYRO_GetXYZ(pGyroDataXYZ);
			   		   sprintf(TxData," GYRO_X,Y,Z = %d %d %d \n\r", (int)(pGyroDataXYZ[0]*100.0),(int)(pGyroDataXYZ[1]*100),(int)(pGyroDataXYZ[2]*100));
			   		   break ;
			   	   case 'a':
			   		   BSP_ACCELERO_AccGetXYZ(pDataXYZ);
			   		   sprintf(TxData," ACCELERO_X,Y,Z = %d %d %d \n\r",pDataXYZ[0],pDataXYZ[1],pDataXYZ[2]);
			   		   break ;
			   	   default:
			   		   sprintf(TxData,"Tié le tigre du bengale\n\r");
			   		   break ;
			   }
			   ret = WIFI_SendData(Socket, (uint8_t *)TxData, strlen(TxData), &Datalen, WIFI_WRITE_TIMEOUT);
			   if (ret != WIFI_STATUS_OK)
			   {
				   printf("> ERROR : Failed to Send Data, connectionclosed\n\r");
				   break;
			   }
		   }
	   }
	   else{
		   printf("> ERROR : Failed to Receive Data, connection closed\n\r");
		   break;
	   }
	  }*/
